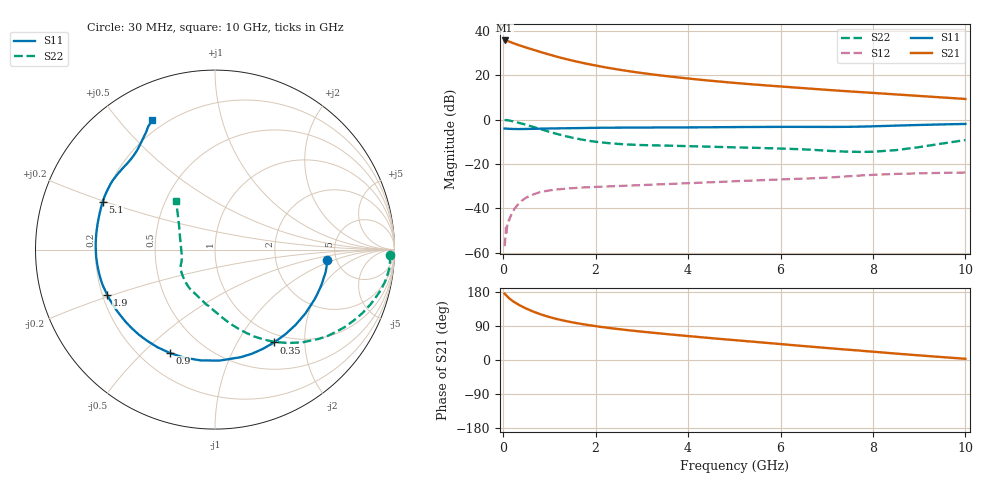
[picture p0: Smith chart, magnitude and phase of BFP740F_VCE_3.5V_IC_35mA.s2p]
! Infineon Technologies  Discrete & RF Semiconductors
! BFP740F
! VCE =  3.5 V,  IC =  35 mA
! Common Emitter S-Parameters:  Oct 2012
# GHz  S  MA  R  50
!  f  S11  S21  S12  S22
! GHz  MAG  ANG  MAG  ANG  MAG  ANG  MAG  ANG
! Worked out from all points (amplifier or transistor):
!   99 points, 30 MHz to 10 GHz, reference 50 ohm
!   highest |S21| = 35.7 dB at 30 MHz (marker M1)
!   |S21| within 3 dB of that: start of sweep to 467.8 MHz
!   unconditionally stable (mu >= 1): 5.134 GHz to end of sweep
!   at 350 MHz: K = 0.21, MSG = 35.5 dB, |S12| = -37.6 dB
!   at 3.5 GHz: K = 0.82, MSG = 24.4 dB, |S12| = -29.1 dB
!   at 10 GHz: K = 1.15, MAG = 14.2 dB, |S12| = -23.8 dB
!   S11 on the Smith chart (normalised r, x): 30 MHz: 4.22, -0.82; 350 MHz: 0.87, -1.44; 900 MHz: 0.32, -0.61; 1.9 GHz: 0.22, -0.19; 5.1 GHz: 0.20, +0.20; 10 GHz: 0.15, +0.62
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0.03  0.6287 -5.4  61.09 175.2  0.0014 78.1  0.9735 -1.8
0.07  0.6281 -12.7  60.35 170.0  0.0027 90.3  0.9763 -6.5
0.11  0.6237 -20.0  58.44 165.0  0.0047 76.8  0.9632 -10.9
0.15  0.6199 -27.0  56.44 160.6  0.0063 76.1  0.9446 -14.8
0.2  0.6167 -35.2  53.88 156.0  0.0081 73.1  0.9199 -19.2
0.25  0.6145 -43.0  51.61 151.9  0.0099 73.5  0.8942 -23.3
0.35  0.6133 -57.5  47.36 144.8  0.0132 65.8  0.8422 -30.8
0.45  0.6156 -70.5  43.84 138.6  0.0161 60.6  0.7898 -37.6
0.6  0.619 -87.7  39.16 130.3  0.0196 53.9  0.7101 -46.7
0.7  0.6224 -97.4  36.32 125.4  0.0215 50.2  0.6605 -52.0
0.9  0.6285 -113.7  31.42 117.0  0.0243 43.9  0.5703 -61.5
1.1  0.6333 -126.5  27.38 110.0  0.0262 39.7  0.4959 -69.4
1.3  0.6377 -136.6  24.09 104.2  0.0274 36.6  0.4366 -76.3
1.7  0.6458 -151.5  19.23 95.0  0.0294 32.9  0.355 -88.0
1.9  0.6509 -157.2  17.43 91.2  0.03 31.9  0.3278 -93.5
2.6  0.6608 -171.9  12.95 80.1  0.0322 30.5  0.2789 -109.4
3.4  0.6657 176.3  9.959 70.0  0.0348 30.7  0.2613 -121.1
4.2  0.6701 166.5  8.065 61.0  0.0376 31.4  0.2493 -128.7
5.1  0.6803 156.9  6.616 51.4  0.0412 31.7  0.2357 -137.9
6.7  0.6857 140.5  4.95 34.8  0.0475 31.8  0.2082 -156.0
8.5  0.7331 123.5  3.704 16.9  0.0597 27.6  0.2053 161.4
10  0.8 115.9  2.925 3.2  0.0642 21.6  0.3462 128.8
